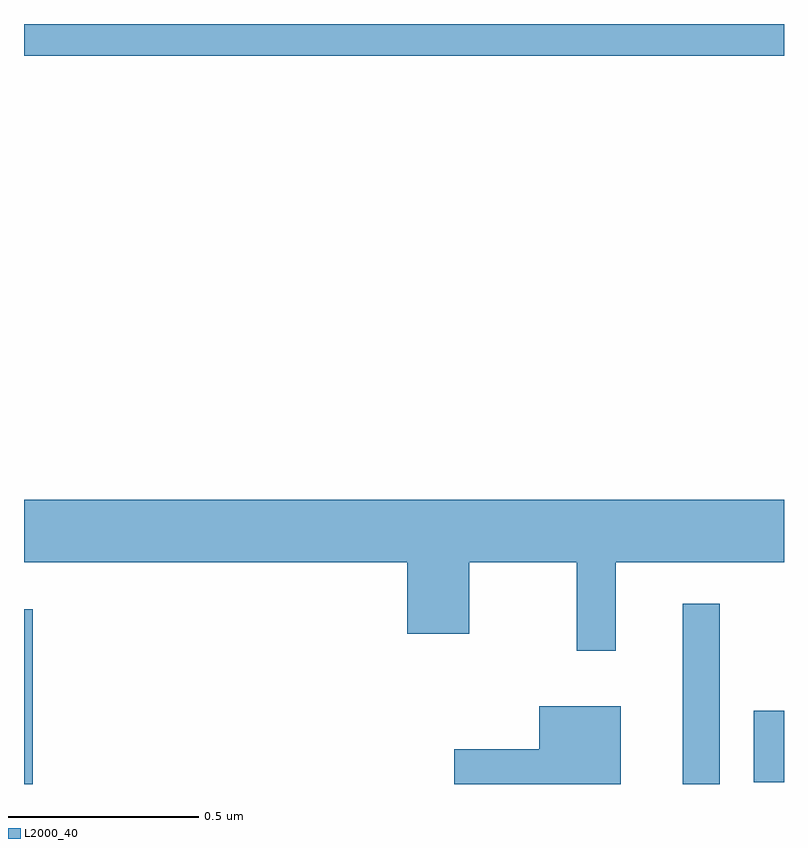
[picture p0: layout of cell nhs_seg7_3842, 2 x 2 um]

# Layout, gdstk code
import gdstk
lib = gdstk.Library(unit=1e-6, precision=1e-09)
def R(c, l, rs):  # rectangles x0, y0, x1, y1
    for r in rs: c.add(gdstk.rectangle(r[:2], r[2:], *l))
def P(c, l, *ps):  # polygons
    for p in ps: c.add(gdstk.Polygon(p, *l))
L2000_40 = (2000, 40)

nhs_seg7_3842 = lib.new_cell('nhs_seg7_3842')
R(nhs_seg7_3842, L2000_40, [(164,1032,164.023,1032.46), (165.734,1032,165.831,1032.475), (165.92,1032.005,166,1032.193), (164,1033.916,166,1034)])
P(nhs_seg7_3842, L2000_40, [(165.557,1032.584),(166,1032.584),(166,1032.748),(164,1032.748),(164,1032.584),(165.008,1032.584),(165.008,1032.396),(165.172,1032.396),(165.172,1032.584),(165.454,1032.584),(165.454,1032.351),(165.557,1032.351)],
  [(165.571,1032.205),(165.356,1032.205),(165.356,1032.092),(165.132,1032.092),(165.132,1032),(165.571,1032)])

lib.write_gds('nhs_seg7_3842.gds')
